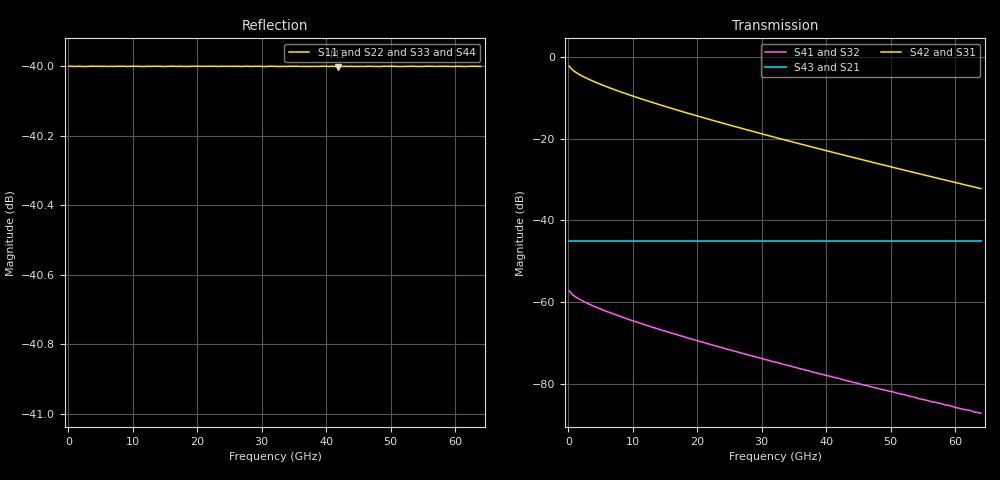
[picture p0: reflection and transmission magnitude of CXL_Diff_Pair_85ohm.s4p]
! Touchstone S4P File
! LightRail AI LR-P3A Rev 6.3 — QPA
! CXL 2.0 differential pair, 85ohm Zdiff, 100mm on Megtron-7
# GHz S RI R 42.5
! f = 0.1000 GHz
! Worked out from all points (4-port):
!   128 points, 100 MHz to 64 GHz, reference 42.5 ohm
!   strongest paths, dB at 100 MHz, 16.2 GHz, 32.3 GHz, 48.4 GHz, 64 GHz:
!     S42: -2.3, -12.7, -19.8, -26.3, -32.2
!     S31: -2.3, -12.7, -19.8, -26.3, -32.2
!     S43: -45.0, -45.0, -45.0, -45.0, -45.0
!     S21: -45.0, -45.0, -45.0, -45.0, -45.0
!     S41: -57.3, -67.7, -74.8, -81.3, -87.2
!     S32: -57.3, -67.7, -74.8, -81.3, -87.2
!   lowest |S11| = -40.0 dB at 41.86 GHz (marker M1), VSWR 1.02, Z = 42.9 - j0.761 ohm
!   |S11| at or under -10 dB: start of sweep to end of sweep
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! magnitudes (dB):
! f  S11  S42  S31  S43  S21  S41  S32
! 100 MHz  -40.0  -2.3  -2.3  -45.0  -45.0  -57.3  -57.3
! 1.106 GHz  -40.0  -3.7  -3.7  -45.0  -45.0  -58.7  -58.7
! 3.622 GHz  -40.0  -5.8  -5.8  -45.0  -45.0  -60.8  -60.8
! 11.67 GHz  -40.0  -10.5  -10.5  -45.0  -45.0  -65.5  -65.5
! 41.86 GHz  -40.0  -23.7  -23.7  -45.0  -45.0  -78.6  -78.6
! 45.38 GHz  -40.0  -25.1  -25.1  -45.0  -45.0  -80.1  -80.1
! 64 GHz  -40.0  -32.2  -32.2  -45.0  -45.0  -87.2  -87.2
